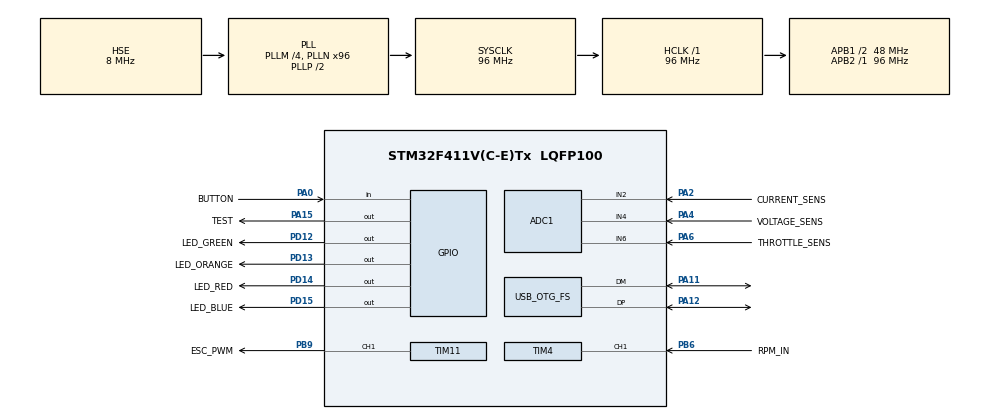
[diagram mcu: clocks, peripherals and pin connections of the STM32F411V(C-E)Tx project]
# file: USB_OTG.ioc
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Mcu.Family=STM32F4
PD12.GPIO_Label=LED_GREEN
USB_DEVICE.CLASS_NAME_FS=CDC
RCC.CortexFreq_Value=96000000
ADC1.ContinuousConvMode=DISABLE
SH.ADCx_IN2.0=ADC1_IN2,IN2
PA11.Mode=Device_Only
PA6.GPIO_Label=THROTTLE_SENS
PB6.GPIO_Label=RPM_IN
RCC.SYSCLKSource=RCC_SYSCLKSOURCE_PLLCLK
ProjectManager.StackSize=0x4000
PD13.Signal=GPIO_Output
PA15.GPIO_Label=TEST
PA12.Signal=USB_OTG_FS_DP
PH0\ -\ OSC_IN.Signal=RCC_OSC_IN
ADC1.Channel-3\#ChannelRegularConversion=ADC_CHANNEL_6
RCC.HCLKFreq_Value=96000000
RCC.APB2TimFreq_Value=96000000
PB6.Signal=S_TIM4_CH1
Dma.ADC1.0.Direction=DMA_PERIPH_TO_MEMORY
ADC1.Channel-2\#ChannelRegularConversion=ADC_CHANNEL_4
ADC1.InjNumberOfConversion=0
NVIC.DMA2_Stream0_IRQn=true\:0\:0\:false\:false\:true\:false\:true
Dma.ADC1.0.MemDataAlignment=DMA_MDATAALIGN_HALFWORD
RCC.AHBFreq_Value=96000000
RCC.HSE_VALUE=8000000
TIM4.Slave_TriggerFilter=15
ADC1.ScanConvMode=ENABLE
ADC1.Rank-2\#ChannelRegularConversion=2
PA14.Mode=Serial_Wire
Dma.ADC1.0.PeriphInc=DMA_PINC_DISABLE
PD13.GPIO_Label=LED_ORANGE
PB9.Signal=S_TIM11_CH1
Mcu.Package=LQFP100
PA6.Signal=ADCx_IN6
PD12.Signal=GPIO_Output
NVIC.OTG_FS_IRQn=true\:0\:0\:false\:false\:true\:false\:true
PA2.GPIO_Label=CURRENT_SENS
USB_OTG_FS.VirtualMode=Device_Only
PA15.Signal=GPIO_Output
SH.S_TIM4_CH1.0=TIM4_CH1,TriggerSource_TI1FP1
RCC.APB1TimFreq_Value=96000000
Dma.ADC1.0.FIFOMode=DMA_FIFOMODE_DISABLE
Dma.Request0=ADC1
SH.S_TIM11_CH1.0=TIM11_CH1,PWM Generation1 CH1
PA4.GPIO_Label=VOLTAGE_SENS
PD15.Signal=GPIO_Output
Dma.ADC1.0.Instance=DMA2_Stream0
PD15.GPIO_Label=LED_BLUE
PB9.GPIO_Label=ESC_PWM
USB_DEVICE.VirtualModeFS=Cdc_FS
SH.ADCx_IN6.0=ADC1_IN6,IN6
PH1\ -\ OSC_OUT.Mode=HSE-External-Oscillator
ADC1.DiscontinuousConvMode=DISABLE
TIM11.Prescaler=95
RCC.APB1CLKDivider=RCC_HCLK_DIV2
VP_TIM4_VS_ControllerModeClock.Mode=Clock Mode
ADC1.SamplingTime-2\#ChannelRegularConversion=ADC_SAMPLETIME_480CYCLES
PA0-WKUP.GPIO_Label=BUTTON
PA0-WKUP.Signal=GPIO_Input
VP_TIM11_VS_ClockSourceINT.Mode=Enable_Timer
PA13.Signal=SYS_JTMS-SWDIO
Dma.ADC1.0.PeriphDataAlignment=DMA_PDATAALIGN_HALFWORD
PH0\ -\ OSC_IN.Mode=HSE-External-Oscillator
ProjectManager.TargetToolchain=STM32CubeIDE
Dma.ADC1.0.Mode=DMA_NORMAL
VP_USB_DEVICE_VS_USB_DEVICE_CDC_FS.Mode=CDC_FS
Dma.ADC1.0.Priority=DMA_PRIORITY_HIGH
ADC1.Channel-1\#ChannelRegularConversion=ADC_CHANNEL_2
RCC.LSE_VALUE=32768
PH1\ -\ OSC_OUT.Signal=RCC_OSC_OUT
board=custom
RCC.VCOOutputFreq_Value=192000000
TIM11.Period=19999
RCC.APB2Freq_Value=96000000
SH.ADCx_IN4.0=ADC1_IN4,IN4
PD14.GPIO_Label=LED_RED
ADC1.DMAContinuousRequests=ENABLE
ADC1.NbrOfConversion=3
PA13.Mode=Serial_Wire
Mcu.Name=STM32F411V(C-E)Tx
PA2.Signal=ADCx_IN2
PD14.Signal=GPIO_Output
RCC.48MHZClocksFreq_Value=48000000
PA4.Signal=ADCx_IN4
ADC1.SamplingTime-1\#ChannelRegularConversion=ADC_SAMPLETIME_480CYCLES
RCC.SYSCLKFreq_VALUE=96000000
ADC1.master=1
PA12.Mode=Device_Only
ADC1.Rank-3\#ChannelRegularConversion=3
ADC1.SamplingTime-3\#ChannelRegularConversion=ADC_SAMPLETIME_480CYCLES
PA15.GPIO_Speed=GPIO_SPEED_FREQ_LOW
ADC1.Rank-1\#ChannelRegularConversion=1
PA11.Signal=USB_OTG_FS_DM
PA14.Signal=SYS_JTCK-SWCLK
Dma.ADC1.0.MemInc=DMA_MINC_ENABLE
ProjectManager.HeapSize=0x2000
RCC.HSI_VALUE=16000000
NVIC.PriorityGroup=NVIC_PRIORITYGROUP_4
ADC1.NbrOfConversionFlag=1
RCC.PLLM=4
RCC.PLLN=96
PA15.GPIO_PuPd=GPIO_PULLDOWN
TIM11.Channel=TIM_CHANNEL_1
RCC.APB1Freq_Value=48000000
USB_DEVICE.VirtualMode=Cdc
ADC1.ClockPrescaler=ADC_CLOCK_SYNC_PCLK_DIV8

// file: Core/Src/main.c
/* USER CODE BEGIN Header */
/**
  ******************************************************************************
  * @file           : main.c
  * @brief          : Main program body
  ******************************************************************************
  * @attention
  *
  * <h2><center>&copy; Copyright (c) 2021 STMicroelectronics.
  * All rights reserved.</center></h2>
  *
  * This software component is licensed by ST under BSD 3-Clause license,
  * the "License"; You may not use this file except in compliance with the
  * License. You may obtain a copy of the License at:
  *                        opensource.org/licenses/BSD-3-Clause
  *
  ******************************************************************************
  */
/* USER CODE END Header */
#include "main.h"
#include "adc.h"
#include "dma.h"
#include "tim.h"
#include "usb_device.h"
#include "gpio.h"

/* USER CODE BEGIN Includes */
#include "usbd_cdc_if.h"
#include <string.h>
#include "iir_first_order.h"
#include "sensors.h"
/* USER CODE END Includes */

/* USER CODE BEGIN PTD */
enum Adc_Input_Order {
	CURRENT = 0,
	BATTERY,
	THROTTLE
};

typedef struct {
	float throttle;		//0-1000[-]
	float battery_voltage;	//0-18[V]
	float current;			//0-20[A]
	//uint8_t battery_level;	//0-100[%]
	//uint32_t rpm;			//[rpm]
} FilterData_t;
/* USER CODE END PTD */

/* USER CODE BEGIN PD */
#define SAMPLING_FREQUENCY	1000	//[Hz]
#define NBR_OF_SAMPLES_PER_PERIOD	100	//[-]

/* USER CODE END PD */

/* USER CODE BEGIN PV */
uint16_t adcData[2][THROTTLE - CURRENT + 1];

/* USER CODE END PV */

void SystemClock_Config(void);

int main(void)
{

  /* MCU Configuration--------------------------------------------------------*/

  /* Reset of all peripherals, Initializes the Flash interface and the Systick. */
  HAL_Init();

  /* Configure the system clock */
  SystemClock_Config();

  /* Initialize all configured peripherals */
  MX_GPIO_Init();
  MX_DMA_Init();
  MX_USB_DEVICE_Init();
  MX_TIM4_Init();
  MX_ADC1_Init();
  MX_TIM11_Init();
  /* USER CODE BEGIN 2 */
  IirFilter_t throttle_filter, battery_filter, current_filter;

  IirFilter_Init(&throttle_filter, SAMPLING_FREQUENCY, 0.2);
  IirFilter_Init(&battery_filter, SAMPLING_FREQUENCY, 0.2);
  IirFilter_Init(&current_filter, SAMPLING_FREQUENCY, 0.05);
  SensorsInit(&htim4.Instance->CNT, NBR_OF_SAMPLES_PER_PERIOD*(1000/SAMPLING_FREQUENCY));
  HAL_TIM_Base_Start(&htim4);
  HAL_TIM_PWM_Start(&htim11, TIM_CHANNEL_1);

  FilterData_t x_data;

  uint32_t sysCounter;
  uint32_t mainCounter = 0;
  uint8_t _send_data = 0;		//Flag which decides whether send raport

  uint8_t _pair = 1;			//Flag that points appropriate buffer for ADC data

  /* USER CODE END 2 */

  /* Infinite loop */
  while (1)
  {

    /* USER CODE BEGIN 3 */
	  sysCounter = HAL_GetTick();

	  //Simple program timer
	  if(mainCounter < sysCounter)
	  {
		  mainCounter = sysCounter + 1000/SAMPLING_FREQUENCY;

		  //START MEASURMENT
		  HAL_ADC_Start_DMA(&hadc1, (uint32_t*) &adcData[_pair], 3);

		  //CALCULATIONS
		  _pair++;
		  _pair %= 2;
		  x_data.current = CalculateCurrent(&adcData[_pair][CURRENT]);
		  x_data.battery_voltage = CalculateBatteryVoltage(&adcData[_pair][BATTERY]);
		  x_data.throttle = CalculateThrottle(&adcData[_pair][THROTTLE]);

		  //FILTERING
		  IirFilter(&current_filter, &x_data.current);
		  IirFilter(&battery_filter, &x_data.battery_voltage);
		  IirFilter(&throttle_filter, &x_data.throttle);

		  //MOTOR CONTROL
		  if (HAL_GPIO_ReadPin(BUTTON_GPIO_Port, BUTTON_Pin))	//PROTECTION - BUTTON HAS TO BE PRESSED
		  {
			  htim11.Instance->CCR1 = 1000 + (uint32_t)throttle_filter.y_k;
		  } else {
			  htim11.Instance->CCR1 = 1000;
		  }

		  //SENDING DATA REPORTS
		  _send_data++;
		  if(_send_data >= NBR_OF_SAMPLES_PER_PERIOD)
		  {
			  uint32_t rpm = GetRPM();
			  float power = 4 * battery_filter.y_k * current_filter.y_k;
			  uint8_t battery_perecentage = GetBatteryPercentage(&battery_filter.y_k);
			  char buff[100];
			  sprintf(buff,"RD:\t%d\t%4.1f\t%4.1f\t%ld\t%5.1f\t%d\r\n",
					  (uint16_t)throttle_filter.y_k, battery_filter.y_k, current_filter.y_k,
					  rpm, power, battery_perecentage);
			  CDC_Transmit_FS(buff, strlen(buff));
			  HAL_GPIO_TogglePin(LED_GREEN_GPIO_Port, LED_GREEN_Pin);
			  _send_data = 0;
		  }
	  }
  }
  /* USER CODE END 3 */
}

void SystemClock_Config(void)
{
  RCC_OscInitTypeDef RCC_OscInitStruct = {0};
  RCC_ClkInitTypeDef RCC_ClkInitStruct = {0};

  /** Configure the main internal regulator output voltage
  */
  __HAL_RCC_PWR_CLK_ENABLE();
  __HAL_PWR_VOLTAGESCALING_CONFIG(PWR_REGULATOR_VOLTAGE_SCALE1);
  /** Initializes the RCC Oscillators according to the specified parameters
  * in the RCC_OscInitTypeDef structure.
  */
  RCC_OscInitStruct.OscillatorType = RCC_OSCILLATORTYPE_HSE;
  RCC_OscInitStruct.HSEState = RCC_HSE_ON;
  RCC_OscInitStruct.PLL.PLLState = RCC_PLL_ON;
  RCC_OscInitStruct.PLL.PLLSource = RCC_PLLSOURCE_HSE;
  RCC_OscInitStruct.PLL.PLLM = 4;
  RCC_OscInitStruct.PLL.PLLN = 96;
  RCC_OscInitStruct.PLL.PLLP = RCC_PLLP_DIV2;
  RCC_OscInitStruct.PLL.PLLQ = 4;
  if (HAL_RCC_OscConfig(&RCC_OscInitStruct) != HAL_OK)
  {
    Error_Handler();
  }
  /** Initializes the CPU, AHB and APB buses clocks
  */
  RCC_ClkInitStruct.ClockType = RCC_CLOCKTYPE_HCLK|RCC_CLOCKTYPE_SYSCLK
                              |RCC_CLOCKTYPE_PCLK1|RCC_CLOCKTYPE_PCLK2;
  RCC_ClkInitStruct.SYSCLKSource = RCC_SYSCLKSOURCE_PLLCLK;
  RCC_ClkInitStruct.AHBCLKDivider = RCC_SYSCLK_DIV1;
  RCC_ClkInitStruct.APB1CLKDivider = RCC_HCLK_DIV2;
  RCC_ClkInitStruct.APB2CLKDivider = RCC_HCLK_DIV1;

  if (HAL_RCC_ClockConfig(&RCC_ClkInitStruct, FLASH_LATENCY_3) != HAL_OK)
  {
    Error_Handler();
  }
}

void Error_Handler(void)
{
  __disable_irq();
  while (1)
  {
  }
}

/************************ (C) COPYRIGHT STMicroelectronics *****END OF FILE****/
